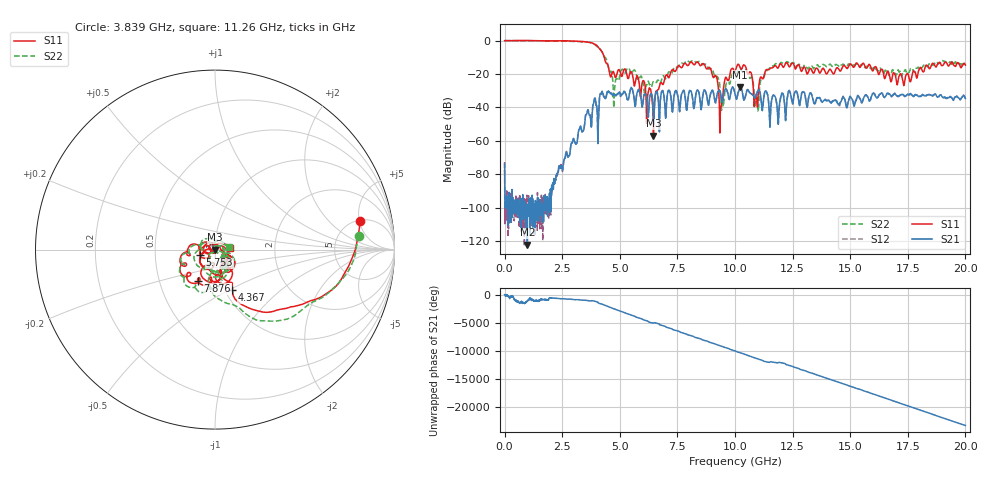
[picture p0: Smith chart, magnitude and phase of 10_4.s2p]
#  HZ  S  RI  R  50.00
! Rohde & Schwarz Vector Network Analyzer
! Rohde-Schwarz,ZNB20-2Port,1311601062102128,3.60
! Created: UTC 4/29/2024, 2:55:44 PM
! freq[Hz]  re:S11  im:S11  re:S21  im:S21  re:S12  im:S12  re:S22  im:S22
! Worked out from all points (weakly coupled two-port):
!   2007 points, 100 kHz to 20 GHz, reference 50 ohm
!   highest |S21| = -27.72 dB at 10.22 GHz (marker M1); lowest = -122.2 dB at 987.1 MHz (marker M2)
!   lowest |S11| = -56.9 dB at 6.461 GHz (marker M3), VSWR 1.00, Z = 50.1 + j0.00913 ohm
!   |S11| at or under -10 dB: 4.326 GHz to end of sweep
!   |S22| runs from -42.4 to 0.1 dB; largest |S21 - S12| = 0.0024
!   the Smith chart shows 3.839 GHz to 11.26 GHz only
!   S11 on the Smith chart (normalised r, x): 3.839 GHz: 5.16, +5.18; 4.367 GHz: 1.08, -0.52; 5.753 GHz: 0.85, -0.05; 7.876 GHz: 0.78, -0.28; 11.26 GHz: 1.19, +0.02
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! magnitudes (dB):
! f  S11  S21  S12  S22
! 100 kHz  0.0  -73.9  -72.6  0.1
! 987.1 MHz  0.1  -122.2  -95.4  0.0
! 2.233 GHz  0.0  -80.9  -81.0  -0.3
! 3.34 GHz  -0.6  -53.9  -53.5  -0.6
! 3.839 GHz  -1.7  -38.1  -37.6  -1.9
! 4.367 GHz  -12.2  -34.8  -34.6  -10.0
! 4.776 GHz  -20.8  -32.3  -32.6  -28.5
! 5.753 GHz  -21.0  -31.2  -31.4  -22.6
! 6.461 GHz  -56.9  -45.5  -45.5  -24.7
! 6.67 GHz  -29.2  -35.1  -35.1  -23.6
! 7.876 GHz  -14.0  -38.8  -39.0  -12.3
! 8.903 GHz  -16.2  -33.9  -33.9  -16.9
! 9.392 GHz  -39.5  -33.5  -33.4  -35.4
! 9.591 GHz  -22.0  -28.7  -28.6  -27.6
! 10 GHz  -18.7  -31.5  -31.6  -19.7
! 10.22 GHz  -16.0  -27.7  -27.8  -17.0
! 10.7 GHz  -19.3  -31.8  -31.9  -21.8
! 10.94 GHz  -34.2  -31.8  -31.9  -32.3
! 11.26 GHz  -21.3  -33.4  -33.4  -22.0
! 13.34 GHz  -18.0  -33.1  -32.8  -15.3
! 16.67 GHz  -19.1  -32.0  -31.8  -20.5
! 20 GHz  -14.6  -34.7  -34.7  -14.3
